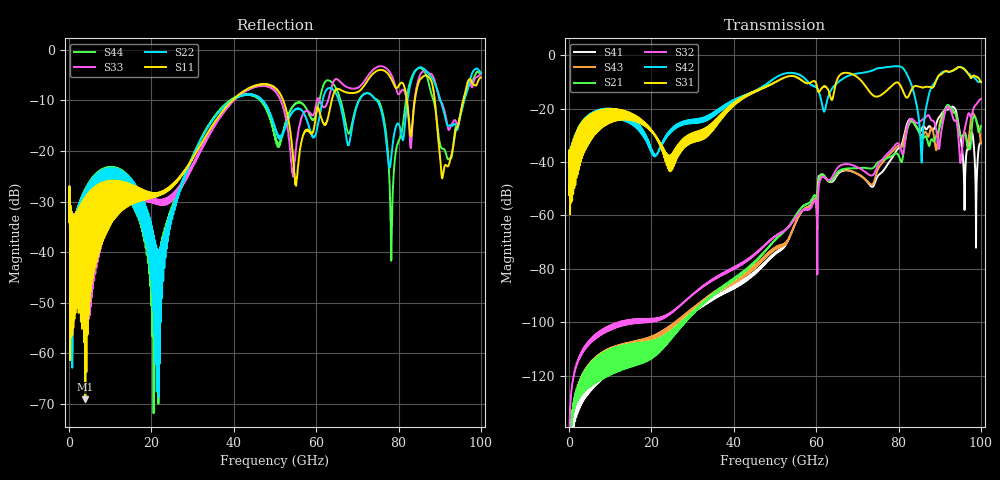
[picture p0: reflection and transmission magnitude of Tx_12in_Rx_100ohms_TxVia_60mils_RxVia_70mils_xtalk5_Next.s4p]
! Info: Touchstone file created by Circ.  Input file=Tx_12in_Rx_100ohms_TxVia_60mils_RxVia_70mils.circ
# Hz S RI R 50
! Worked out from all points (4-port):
!   10000 points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, 10 MHz to 100 GHz, reference 50 ohm
!   strongest paths, dB at 10 MHz, 25.01 GHz, 50.01 GHz, 75.01 GHz, 100 GHz:
!     S31: -52.3, -37.4, -10.1, -15.5, -10.1
!     S42: -52.3, -27.3, -8.5, -4.9, -10.0
!     S32: -156.8, -96.4, -67.8, -41.1, -16.4
!     S21: -167.6, -105.6, -69.2, -40.2, -26.6
!     S43: -158.1, -103.3, -72.4, -42.6, -33.0
!     S41: -158.5, -101.9, -74.1, -45.2, -32.9
!   lowest |S11| = -69.1 dB at 3.94 GHz (marker M1), VSWR 1.00, Z = 50 - j0.032 ohm
!   |S11| at or under -10 dB: start of sweep to 39.57 GHz; 51.98 GHz to 63.8 GHz (11.82 GHz wide, 20.4 % of centre); 88.82 GHz to 95.74 GHz (6.921 GHz wide, 7.5 % of centre)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
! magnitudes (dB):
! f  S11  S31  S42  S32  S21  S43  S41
! 10 MHz  -34.1  -52.3  -52.3  -156.8  -167.6  -158.1  -158.5
! 3.94 GHz  -69.1  -35.5  -31.8  -108.9  -120.1  -119.4  -126.5
! 21.25 GHz  -28.6  -30.9  -37.1  -99.4  -106.4  -104.5  -104.7
! 40.27 GHz  -9.5  -18.5  -17.3  -79.2  -83.2  -83.8  -85.9
! 78.27 GHz  -5.8  -11.6  -4.3  -35.4  -37.8  -36.5  -38.8
! 85.59 GHz  -5.6  -12.1  -40.1  -24.4  -31.1  -30.1  -27.8
! 100 GHz  -5.4  -10.1  -10.0  -16.4  -26.6  -33.0  -32.9
